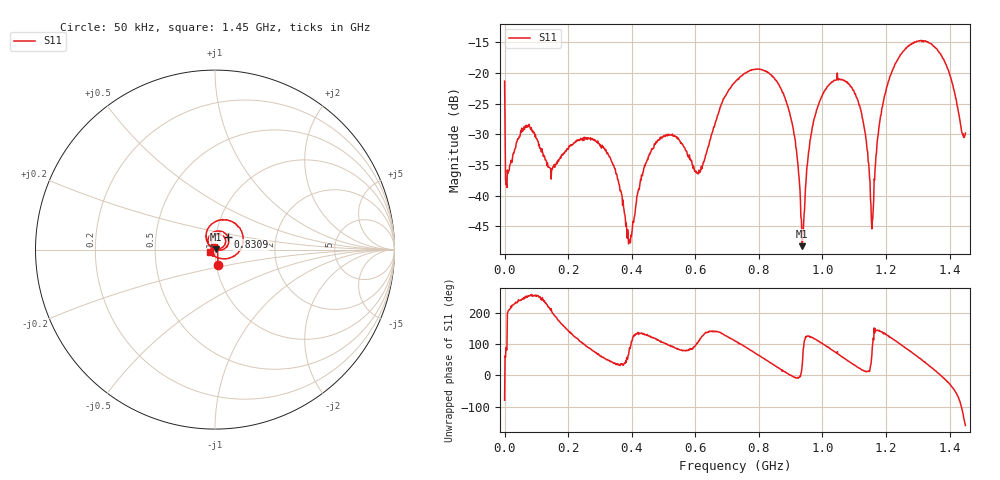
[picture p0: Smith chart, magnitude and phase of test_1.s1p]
! Created with skrf 1.11.0 (http://scikit-rf.org).
# Hz S RI R 50.0
!freq ReS11 ImS11
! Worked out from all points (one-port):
!   1001 points, 50 kHz to 1.45 GHz, reference 50 ohm
!   lowest |S11| = -48.2 dB at 936.7 MHz (marker M1), VSWR 1.01, Z = 50.3 + j0.223 ohm
!   |S11| at or under -10 dB: start of sweep to end of sweep
!   S11 on the Smith chart (normalised r, x): 50 kHz: 1.02, -0.17; 830.9 MHz: 1.14, +0.16; 1.45 GHz: 0.94, -0.02
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50000  0.0164 -0.0844
1.019965e7  -0.0142 -0.00551
7.109755e7  -0.0115 -0.0356
1.43595e8  -0.0146 -0.00819
1.812938e8  -0.0203 0.00659
2.856902e8  0.00781 0.0266
3.625375e8  0.00959 0.00615
3.929864e8  0.000211 0.00439
4.596842e8  -0.0128 0.0186
5.437812e8  0.00357 0.0297
6.133788e8  -0.00545 0.0146
6.844264e8  -0.0393 0.0418
7.25025e8  -0.0292 0.0794
8.308714e8  0.0721 0.0702
9.062688e8  0.0374 -0.00167
9.207682e8  0.0202 -0.00241
9.367177e8  0.00319 0.00221
9.613668e8  -0.0157 0.024
9.889159e8  -0.0178 0.0536
1.039664e9  0.023 0.0844
1.087512e9  0.0583 0.052
1.128111e9  0.0387 0.0117
1.15711e9  -4.1e-05 0.00621
1.175959e9  -0.0258 0.019
1.194809e9  -0.045 0.046
1.268756e9  0.0208 0.1641
1.368803e9  0.1456 0.00977
1.45e9  -0.0304 -0.0115
